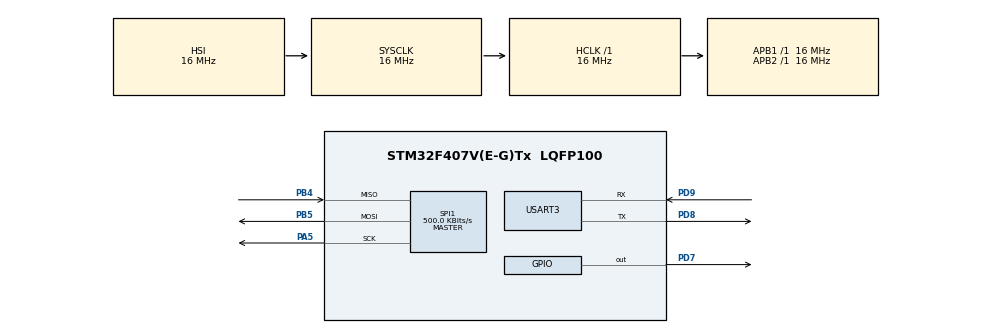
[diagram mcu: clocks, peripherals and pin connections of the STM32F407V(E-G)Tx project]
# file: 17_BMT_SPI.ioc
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Mcu.Family=STM32F4
Mcu.Name=STM32F407V(E-G)Tx
Mcu.Package=LQFP100
NVIC.PriorityGroup=NVIC_PRIORITYGROUP_4
PA5.Mode=Full_Duplex_Master
PA5.Signal=SPI1_SCK
PB4.Mode=Full_Duplex_Master
PB4.Signal=SPI1_MISO
PB5.Mode=Full_Duplex_Master
PB5.Signal=SPI1_MOSI
PD7.Signal=GPIO_Output
PD8.Mode=Asynchronous
PD8.Signal=USART3_TX
PD9.Mode=Asynchronous
PD9.Signal=USART3_RX
ProjectManager.HeapSize=0x200
ProjectManager.StackSize=0x400
ProjectManager.TargetToolchain=STM32CubeIDE
RCC.AHBFreq_Value=16000000
RCC.APB1Freq_Value=16000000
RCC.APB2Freq_Value=16000000
RCC.CortexFreq_Value=16000000
RCC.HSE_VALUE=25000000
RCC.HSI_VALUE=16000000
RCC.LSE_VALUE=32768
RCC.SYSCLKFreq_VALUE=16000000
RCC.VCOOutputFreq_Value=192000000
SPI1.BaudRatePrescaler=SPI_BAUDRATEPRESCALER_32
SPI1.CalculateBaudRate=500.0 KBits/s
SPI1.Direction=SPI_DIRECTION_2LINES
SPI1.Mode=SPI_MODE_MASTER
SPI1.VirtualType=VM_MASTER
USART3.VirtualMode=VM_ASYNC
board=custom

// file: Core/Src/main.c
/* USER CODE BEGIN Header */
/**
  ******************************************************************************
  * @file           : main.c
  * @brief          : Main program body
  ******************************************************************************
  * @attention
  *
  * Copyright (c) 2023 STMicroelectronics.
  * All rights reserved.
  *
  * This software is licensed under terms that can be found in the LICENSE file
  * in the root directory of this software component.
  * If no LICENSE file comes with this software, it is provided AS-IS.
  *
  ******************************************************************************
  */
/* USER CODE END Header */
#include "main.h"

/* USER CODE BEGIN Includes */
#include "spi_flash.h"
/* USER CODE END Includes */

/* USER CODE BEGIN PM */
#define LINE_NUMBER 22
/* USER CODE END PM */

SPI_HandleTypeDef hspi1;

UART_HandleTypeDef huart3;

/* USER CODE BEGIN PV */
const char * text[LINE_NUMBER] = {
		"From: Svitlana Drozd, drozd.svit@gmail.com\n",
		"Mentor: Bogdan Liulko, bogdan.liulko@globallogic.com\n",
		"Date: 19.03.2023\n",
		"TIME CAPSULE\n",

		"You can't buy this fineness\n",
		"Let me see the heat get to you\n",
		"Let me watch the dressing start to peel\n",
		"It's a kindness, highness\n",
		"Crumbs enough for everyone\n",
		"Old and young are welcome to the meal\n",
		"Honey, I'm makin' sure the table's made\n",
		"We can celebrate the good that we've done\n",
		"I won't lie if there's somethin' still to take\n",
		"There is ground to break, whatever's still to come\n",

		"Get some\n",
		"Pull up the ladder when the flood comes\n",
		"Throw enough rope until the legs have swung\n",
		"Seven new ways that you can eat your young\n",
		"Come and get some\n",
		"Skinnin' the children for a war drum\n",
		"Puttin' food on the table sellin' bombs and guns\n",
		"It's quicker and easier to eat your young\n"
};
/* USER CODE END PV */

void SystemClock_Config(void);
static void MX_GPIO_Init(void);
static void MX_SPI1_Init(void);
static void MX_USART3_UART_Init(void);

int main(void)
{

  /* MCU Configuration--------------------------------------------------------*/

  /* Reset of all peripherals, Initializes the Flash interface and the Systick. */
  HAL_Init();

  /* Configure the system clock */
  SystemClock_Config();

  /* Initialize all configured peripherals */
  MX_GPIO_Init();
  MX_SPI1_Init();
  MX_USART3_UART_Init();

  /* Infinite loop */
  /* USER CODE BEGIN WHILE */

  uint8_t rcvBuf[1];

  while (1)
  {
	  if (HAL_UART_Receive(&huart3, rcvBuf, 1, 10) == HAL_OK){
	  switch (rcvBuf[0]){
	  case 'w': //Write
		  HAL_UART_Transmit(&huart3, (uint8_t *)"Start writing\n\r", 15, 10);
		  if (SPI_Write(text, LINE_NUMBER) == SPI_OK){
			  HAL_UART_Transmit(&huart3, (uint8_t *)"Writing is successful\n\r", 23, 10);
		  }else{
			  HAL_UART_Transmit(&huart3, (uint8_t *)"Writing is not successful\n\r", 27, 10);
		  }
		  break;
	  case 'r': //Read
		  HAL_UART_Transmit(&huart3, (uint8_t *)"Start reading\n\r", 15, 10);
		  if (SPI_Read(LINE_NUMBER) == SPI_OK){
			  HAL_UART_Transmit(&huart3, (uint8_t *)"Reading is successful\n\r", 23, 10);
		  }else{
			  HAL_UART_Transmit(&huart3, (uint8_t *)"Reading is not successful\n\r", 27, 10);
		  }
		  break;
	  case 's': //Erase 0th sector
		  HAL_UART_Transmit(&huart3, (uint8_t *)"Start erasing sector\n\r", 22, 10);
		  if (SPI_Erase_sector(0) == SPI_OK){
			  HAL_UART_Transmit(&huart3, (uint8_t *)"Erasing is successful\n\r", 23, 10);
		  }else{
			  HAL_UART_Transmit(&huart3, (uint8_t *)"Erasing is not successful\n\r", 27, 10);
		  }
		  break;
	  case 'd': //Erase 1th 32KB block
		  HAL_UART_Transmit(&huart3, (uint8_t *)"Start erasing 32KB block\n\r", 26, 10);
		  if (SPI_Erase_block(BLOCK_32KB, 1) == SPI_OK){
			  HAL_UART_Transmit(&huart3, (uint8_t *)"Erasing is successful\n\r", 23, 10);
		  }else{
			  HAL_UART_Transmit(&huart3, (uint8_t *)"Erasing is not successful\n\r", 27, 10);
		  }

		  break;
	  case 'f': //Erase 2th 64KB block
		  HAL_UART_Transmit(&huart3, (uint8_t *)"Start erasing 64KB block\n\r", 26, 10);
		  if (SPI_Erase_block(BLOCK_64KB, 2) == SPI_OK){
			  HAL_UART_Transmit(&huart3, (uint8_t *)"Erasing is successful\n\r", 23, 10);
		  }else{
			  HAL_UART_Transmit(&huart3, (uint8_t *)"Erasing is not successful\n\r", 27, 10);
		  }
		  break;
	  case 'e': //Erase all
		  HAL_UART_Transmit(&huart3, (uint8_t *)"Start erasing chip\n\r", 20, 10);
		  if (SPI_Erase_All() == SPI_OK){
			  HAL_UART_Transmit(&huart3, (uint8_t *)"Erasing is successful\n\r", 23, 10);
		  }else{
			  HAL_UART_Transmit(&huart3, (uint8_t *)"Erasing is not successful\n\r", 27, 10);
		  }
		  break;
	  default:
		  HAL_UART_Transmit(&huart3, (uint8_t *)"UnexpCmd\n\r", 10, 10);
		  break;
	  }

  }
    /* USER CODE END WHILE */

  }
}

void SystemClock_Config(void)
{
  RCC_OscInitTypeDef RCC_OscInitStruct = {0};
  RCC_ClkInitTypeDef RCC_ClkInitStruct = {0};

  /** Configure the main internal regulator output voltage
  */
  __HAL_RCC_PWR_CLK_ENABLE();
  __HAL_PWR_VOLTAGESCALING_CONFIG(PWR_REGULATOR_VOLTAGE_SCALE1);

  /** Initializes the RCC Oscillators according to the specified parameters
  * in the RCC_OscInitTypeDef structure.
  */
  RCC_OscInitStruct.OscillatorType = RCC_OSCILLATORTYPE_HSI;
  RCC_OscInitStruct.HSIState = RCC_HSI_ON;
  RCC_OscInitStruct.HSICalibrationValue = RCC_HSICALIBRATION_DEFAULT;
  RCC_OscInitStruct.PLL.PLLState = RCC_PLL_NONE;
  if (HAL_RCC_OscConfig(&RCC_OscInitStruct) != HAL_OK)
  {
    Error_Handler();
  }

  /** Initializes the CPU, AHB and APB buses clocks
  */
  RCC_ClkInitStruct.ClockType = RCC_CLOCKTYPE_HCLK|RCC_CLOCKTYPE_SYSCLK
                              |RCC_CLOCKTYPE_PCLK1|RCC_CLOCKTYPE_PCLK2;
  RCC_ClkInitStruct.SYSCLKSource = RCC_SYSCLKSOURCE_HSI;
  RCC_ClkInitStruct.AHBCLKDivider = RCC_SYSCLK_DIV1;
  RCC_ClkInitStruct.APB1CLKDivider = RCC_HCLK_DIV1;
  RCC_ClkInitStruct.APB2CLKDivider = RCC_HCLK_DIV1;

  if (HAL_RCC_ClockConfig(&RCC_ClkInitStruct, FLASH_LATENCY_0) != HAL_OK)
  {
    Error_Handler();
  }
}

static void MX_SPI1_Init(void)
{

  /* SPI1 parameter configuration*/
  hspi1.Instance = SPI1;
  hspi1.Init.Mode = SPI_MODE_MASTER;
  hspi1.Init.Direction = SPI_DIRECTION_2LINES;
  hspi1.Init.DataSize = SPI_DATASIZE_8BIT;
  hspi1.Init.CLKPolarity = SPI_POLARITY_LOW;
  hspi1.Init.CLKPhase = SPI_PHASE_1EDGE;
  hspi1.Init.NSS = SPI_NSS_SOFT;
  hspi1.Init.BaudRatePrescaler = SPI_BAUDRATEPRESCALER_32;
  hspi1.Init.FirstBit = SPI_FIRSTBIT_MSB;
  hspi1.Init.TIMode = SPI_TIMODE_DISABLE;
  hspi1.Init.CRCCalculation = SPI_CRCCALCULATION_DISABLE;
  hspi1.Init.CRCPolynomial = 10;
  if (HAL_SPI_Init(&hspi1) != HAL_OK)
  {
    Error_Handler();
  }

}

static void MX_USART3_UART_Init(void)
{

  huart3.Instance = USART3;
  huart3.Init.BaudRate = 115200;
  huart3.Init.WordLength = UART_WORDLENGTH_8B;
  huart3.Init.StopBits = UART_STOPBITS_1;
  huart3.Init.Parity = UART_PARITY_NONE;
  huart3.Init.Mode = UART_MODE_TX_RX;
  huart3.Init.HwFlowCtl = UART_HWCONTROL_NONE;
  huart3.Init.OverSampling = UART_OVERSAMPLING_16;
  if (HAL_UART_Init(&huart3) != HAL_OK)
  {
    Error_Handler();
  }

}

static void MX_GPIO_Init(void)
{
  GPIO_InitTypeDef GPIO_InitStruct = {0};

  /* GPIO Ports Clock Enable */
  __HAL_RCC_GPIOA_CLK_ENABLE();
  __HAL_RCC_GPIOD_CLK_ENABLE();
  __HAL_RCC_GPIOB_CLK_ENABLE();

  /*Configure GPIO pin Output Level */
  HAL_GPIO_WritePin(GPIOD, GPIO_PIN_7, GPIO_PIN_RESET);

  /*Configure GPIO pin : PD7 */
  GPIO_InitStruct.Pin = GPIO_PIN_7;
  GPIO_InitStruct.Mode = GPIO_MODE_OUTPUT_PP;
  GPIO_InitStruct.Pull = GPIO_NOPULL;
  GPIO_InitStruct.Speed = GPIO_SPEED_FREQ_LOW;
  HAL_GPIO_Init(GPIOD, &GPIO_InitStruct);

}

void Error_Handler(void)
{
  __disable_irq();
  while (1)
  {
  }
}
